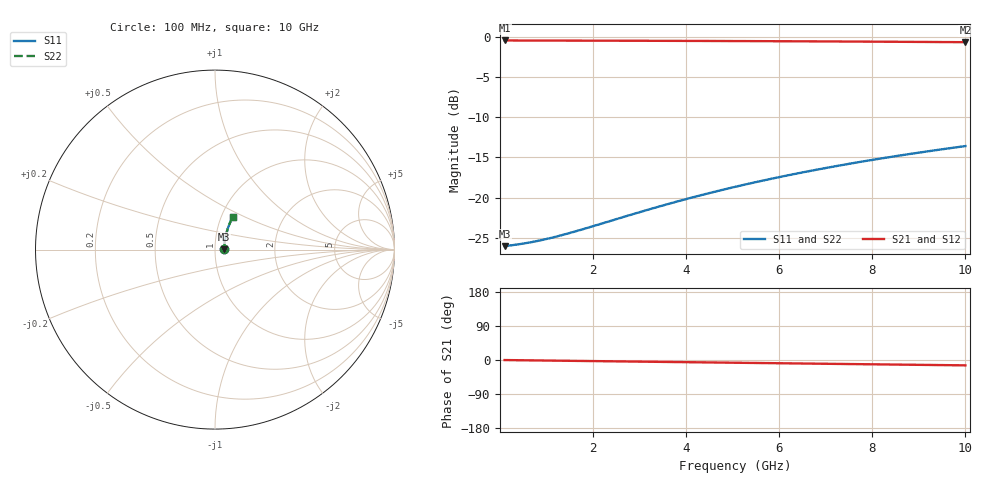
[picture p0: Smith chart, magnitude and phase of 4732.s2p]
# Hz S RI R 50.00
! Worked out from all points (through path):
!   100 points, 100 MHz to 10 GHz, reference 50 ohm
!   highest |S21| = -0.44 dB at 100 MHz (marker M1); lowest = -0.7 dB at 10 GHz (marker M2)
!   group delay of S21, straight-line fit = 3.93 ps
!   lowest |S11| = -26.0 dB at 100 MHz (marker M3), VSWR 1.11, Z = 55.2 + j0.217 ohm
!   |S11| at or under -10 dB: start of sweep to end of sweep
!   |S22| runs from -26.0 to -13.6 dB; largest |S21 - S12| = 0
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1e8  0.0498 0.00196  0.9502 -0.00238  0.9502 -0.00238  0.0498 0.00196
5e8  0.0508 0.00976  0.9492 -0.0119  0.9492 -0.0119  0.0508 0.00976
7e8  0.0512 0.0137  0.9488 -0.0166  0.9488 -0.0166  0.0512 0.0137
9e8  0.0516 0.0175  0.9484 -0.0214  0.9484 -0.0214  0.0516 0.0175
1.1e9  0.0519 0.0214  0.948 -0.0261  0.948 -0.0261  0.0519 0.0214
1.3e9  0.0523 0.0253  0.9477 -0.0308  0.9477 -0.0308  0.0523 0.0253
1.5e9  0.0527 0.0292  0.9472 -0.0356  0.9472 -0.0356  0.0527 0.0292
1.8e9  0.0534 0.035  0.9466 -0.0427  0.9466 -0.0427  0.0534 0.035
2.9e9  0.0564 0.0561  0.9435 -0.0685  0.9435 -0.0685  0.0564 0.0561
3.4e9  0.0581 0.0657  0.9418 -0.0802  0.9418 -0.0802  0.0581 0.0657
3.8e9  0.0596 0.0733  0.9403 -0.0895  0.9403 -0.0895  0.0596 0.0733
4.2e9  0.0612 0.0808  0.9386 -0.0987  0.9386 -0.0987  0.0612 0.0808
4.6e9  0.063 0.0883  0.9368 -0.1079  0.9368 -0.1079  0.063 0.0883
5.1e9  0.0655 0.0976  0.9343 -0.1194  0.9343 -0.1194  0.0655 0.0976
5.5e9  0.0676 0.105  0.9321 -0.1285  0.9321 -0.1285  0.0676 0.105
5.9e9  0.0698 0.1124  0.9299 -0.1375  0.9299 -0.1375  0.0698 0.1124
6.3e9  0.0722 0.1196  0.9274 -0.1465  0.9274 -0.1465  0.0722 0.1196
6.7e9  0.0747 0.1269  0.9249 -0.1555  0.9249 -0.1555  0.0747 0.1269
7.5e9  0.0801 0.1411  0.9193 -0.1731  0.9193 -0.1731  0.0801 0.1411
8.4e9  0.0868 0.1568  0.9125 -0.1926  0.9125 -0.1926  0.0868 0.1568
9.2e9  0.0933 0.1704  0.9059 -0.2097  0.9059 -0.2097  0.0933 0.1704
1e10  0.1003 0.1836  0.8987 -0.2264  0.8987 -0.2264  0.1003 0.1836
